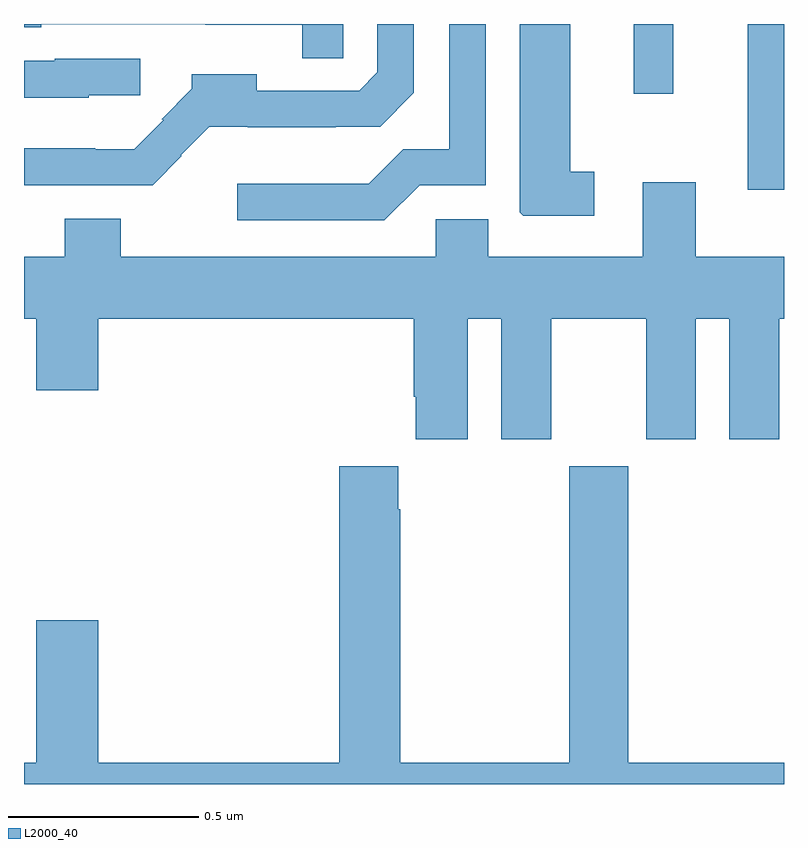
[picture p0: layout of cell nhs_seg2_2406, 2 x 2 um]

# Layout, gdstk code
import gdstk
lib = gdstk.Library(unit=1e-6, precision=1e-09)
def R(c, l, rs):  # rectangles x0, y0, x1, y1
    for r in rs: c.add(gdstk.rectangle(r[:2], r[2:], *l))
def P(c, l, *ps):  # polygons
    for p in ps: c.add(gdstk.Polygon(p, *l))
L2000_40 = (2000, 40)

nhs_seg2_2406 = lib.new_cell('nhs_seg2_2406')
R(nhs_seg2_2406, L2000_40, [(142.904,593.364,143,593.8), (142.604,593.616,142.708,593.8)])
P(nhs_seg2_2406, L2000_40, [(141.415,593.453),(141.413,593.455),(141.487,593.529),(141.589,593.529),(141.589,593.528),(141.821,593.528),(141.821,593.53),(141.937,593.53),(142.026,593.619),(142.026,593.8),(141.93,593.8),(141.93,593.673),(141.882,593.625),(141.613,593.625),(141.613,593.668),(141.442,593.668),(141.442,593.629),(141.363,593.55),(141.366,593.547),(141.29,593.471),(141.188,593.471),(141.188,593.473),(141,593.473),(141,593.376),(141.339,593.376)],
  [(141.84,593.8),(141,593.8),(141,593.792),(141.045,593.792),(141.045,593.799),(141.477,593.799),(141.477,593.798),(141.732,593.798),(141.732,593.71),(141.84,593.71)],
  [(142.501,593.411),(142.438,593.411),(142.438,593.8),(142.304,593.8),(142.304,593.305),(142.314,593.295),(142.501,593.295)],
  [(142.041,593.376),(142.215,593.376),(142.215,593.8),(142.119,593.8),(142.119,593.471),(141.998,593.471),(141.907,593.38),(141.561,593.38),(141.561,593.283),(141.948,593.283)],
  [(141.171,593.613),(141.306,593.613),(141.306,593.709),(141.081,593.709),(141.081,593.703),(141,593.703),(141,593.606),(141.171,593.606)],
  [(142.168,593.024),(142.256,593.024),(142.256,592.707),(142.387,592.707),(142.387,593.024),(142.637,593.024),(142.637,592.707),(142.768,592.707),(142.768,593.024),(142.856,593.024),(142.856,592.707),(142.987,592.707),(142.987,593.024),(143,593.024),(143,593.188),(142.768,593.188),(142.768,593.383),(142.628,593.383),(142.628,593.188),(142.222,593.188),(142.222,593.286),(142.083,593.286),(142.083,593.188),(141.255,593.188),(141.255,593.287),(141.107,593.287),(141.107,593.188),(141,593.188),(141,593.024),(141.032,593.024),(141.032,592.836),(141.196,592.836),(141.196,593.024),(142.025,593.024),(142.025,592.819),(142.031,592.819),(142.031,592.707),(142.168,592.707)],
  [(143,591.856),(142.59,591.856),(142.59,592.636),(142.435,592.636),(142.435,591.856),(141.99,591.856),(141.99,592.523),(141.985,592.523),(141.985,592.636),(141.83,592.636),(141.83,591.856),(141.196,591.856),(141.196,592.231),(141.032,592.231),(141.032,591.856),(141,591.856),(141,591.8),(143,591.8)])

lib.write_gds('nhs_seg2_2406.gds')
